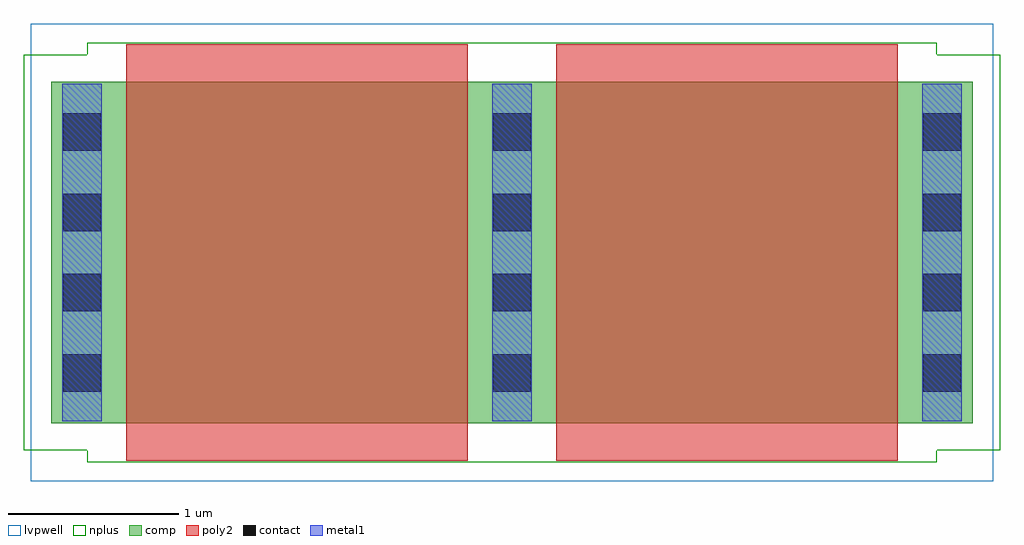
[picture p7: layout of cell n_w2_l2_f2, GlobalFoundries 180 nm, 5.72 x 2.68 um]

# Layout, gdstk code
import gdstk
lib = gdstk.Library(unit=1e-6, precision=1e-09)
def R(c, l, rs):  # rectangles x0, y0, x1, y1
    for r in rs: c.add(gdstk.rectangle(r[:2], r[2:], *l))
def A(c, l, x, y, w, h, nx, ny, dx, dy):  # array of equal rectangles
    R(c, l, [(x+i*dx, y+j*dy, x+i*dx+w, y+j*dy+h) for i in range(nx) for j in range(ny)])
comp = (22, 0)
poly2 = (30, 0)
nplus = (32, 0)
contact = (33, 0)
metal1 = (34, 0)
lvpwell = (204, 0)

n_w2_l2_f2 = lib.new_cell('n_w2_l2_f2')
R(n_w2_l2_f2, comp, [(-2.7,-1,2.7,1)])
R(n_w2_l2_f2, poly2, [(-2.26,-1.22,-0.26,1.22), (0.26,-1.22,2.26,1.22)])
R(n_w2_l2_f2, nplus, [(-2.49,-1.23,2.49,-1.16), (-2.86,-1.16,2.86,1.16), (-2.49,1.16,2.49,1.23)])
A(n_w2_l2_f2, contact, -2.63, -0.815, 0.22, 0.22, 3, 4, 2.52, 0.47)
A(n_w2_l2_f2, metal1, -2.635, -0.99, 0.23, 1.98, 3, 1, 2.52, 0)
R(n_w2_l2_f2, lvpwell, [(-2.82,-1.34,2.82,1.34)])

lib.write_gds('n_w2_l2_f2.gds')
